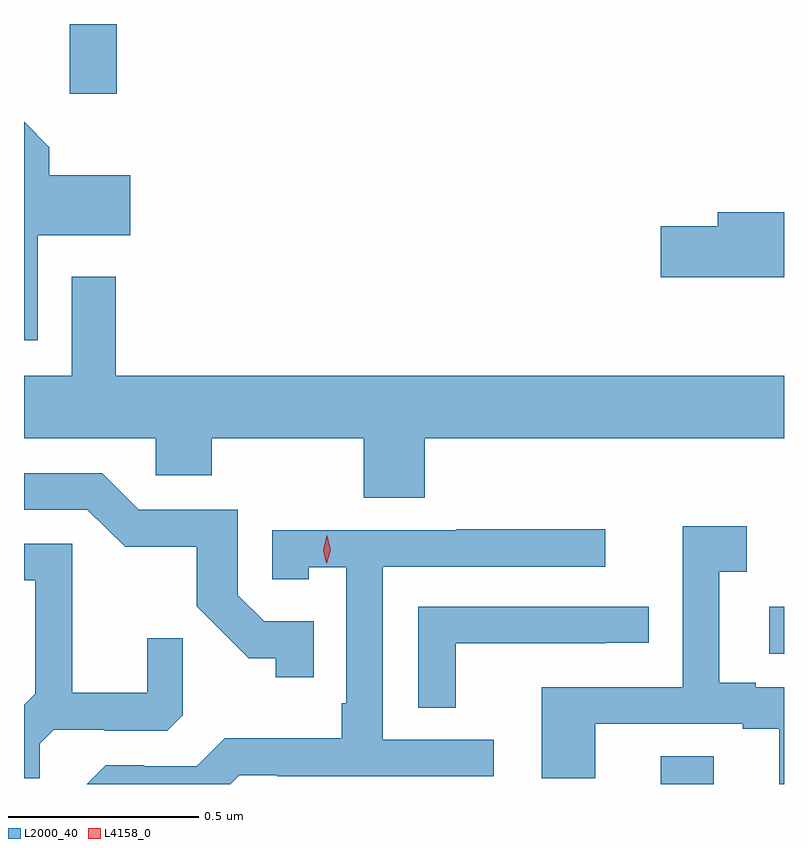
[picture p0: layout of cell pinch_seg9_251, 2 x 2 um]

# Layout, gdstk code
import gdstk
lib = gdstk.Library(unit=1e-6, precision=1e-09)
def R(c, l, rs):  # rectangles x0, y0, x1, y1
    for r in rs: c.add(gdstk.rectangle(r[:2], r[2:], *l))
def P(c, l, *ps):  # polygons
    for p in ps: c.add(gdstk.Polygon(p, *l))
L2000_40 = (2000, 40)
L4158_0 = (4158, 0)

pinch_seg9_251 = lib.new_cell('pinch_seg9_251')
R(pinch_seg9_251, L2000_40, [(400.433,1239.466,400.573,1239.539), (400.719,1239.809,400.758,1239.933), (398.879,1241.283,399.002,1241.466)])
P(pinch_seg9_251, L2000_40, [(398.794,1240.91),(399.037,1240.91),(399.037,1241.068),(398.825,1241.068),(398.825,1241.142),(398.758,1241.209),(398.758,1240.634),(398.794,1240.634)],
  [(400.758,1240.97),(400.583,1240.97),(400.583,1240.934),(400.434,1240.934),(400.434,1240.799),(400.758,1240.799)],
  [(399.812,1240.376),(400.758,1240.376),(400.758,1240.54),(398.999,1240.54),(398.999,1240.801),(398.883,1240.801),(398.883,1240.54),(398.758,1240.54),(398.758,1240.376),(399.105,1240.376),(399.105,1240.278),(399.252,1240.278),(399.252,1240.376),(399.652,1240.376),(399.652,1240.219),(399.812,1240.219)],
  [(399.521,1239.894),(399.39,1239.894),(399.321,1239.963),(399.321,1240.188),(399.06,1240.188),(398.964,1240.284),(398.758,1240.284),(398.758,1240.188),(398.925,1240.188),(399.024,1240.09),(399.213,1240.09),(399.213,1239.934),(399.35,1239.797),(399.42,1239.797),(399.42,1239.747),(399.521,1239.747)],
  [(400.758,1239.72),(400.684,1239.72),(400.684,1239.733),(400.588,1239.733),(400.588,1240.024),(400.66,1240.024),(400.66,1240.144),(400.491,1240.144),(400.491,1239.72),(400.121,1239.72),(400.121,1239.481),(400.261,1239.481),(400.261,1239.624),(400.649,1239.624),(400.649,1239.612),(400.745,1239.612),(400.745,1239.466),(400.758,1239.466)],
  [(399.324,1239.489),(399.424,1239.489),(399.424,1239.486),(399.994,1239.486),(399.994,1239.582),(399.702,1239.582),(399.702,1240.038),(400.288,1240.038),(400.288,1240.137),(399.895,1240.137),(399.895,1240.134),(399.411,1240.134),(399.411,1240.005),(399.507,1240.005),(399.507,1240.037),(399.606,1240.037),(399.606,1239.679),(399.594,1239.679),(399.594,1239.586),(399.286,1239.586),(399.213,1239.513),(399.074,1239.513),(399.074,1239.516),(398.973,1239.516),(398.923,1239.466),(399.301,1239.466)],
  [(398.799,1239.572),(398.836,1239.609),(398.97,1239.609),(398.97,1239.606),(399.135,1239.606),(399.176,1239.647),(399.176,1239.849),(399.082,1239.849),(399.082,1239.706),(398.885,1239.706),(398.885,1240.098),(398.758,1240.098),(398.758,1240.002),(398.787,1240.002),(398.787,1239.703),(398.758,1239.674),(398.758,1239.481),(398.799,1239.481)],
  [(399.894,1239.837),(400.289,1239.837),(400.289,1239.838),(400.402,1239.838),(400.402,1239.933),(399.795,1239.933),(399.795,1239.667),(399.894,1239.667)])
P(pinch_seg9_251, L4158_0, [(399.554,1240.047),(399.545,1240.083),(399.555,1240.119),(399.555,1240.119),(399.556,1240.119),(399.565,1240.083),(399.555,1240.047),(399.555,1240.047)])

lib.write_gds('pinch_seg9_251.gds')
